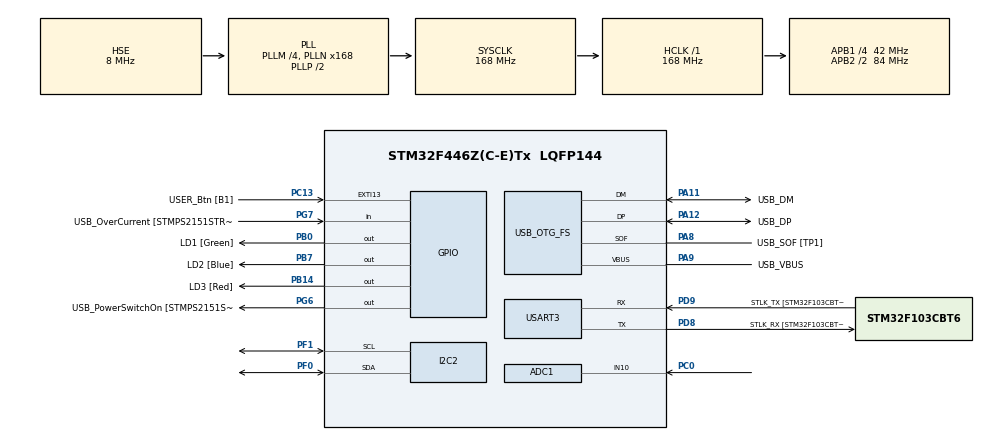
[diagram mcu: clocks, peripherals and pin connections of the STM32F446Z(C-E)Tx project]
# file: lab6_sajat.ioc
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ADC1.Channel-1\#ChannelRegularConversion=ADC_CHANNEL_10
ADC1.NbrOfConversionFlag=1
ADC1.Rank-1\#ChannelRegularConversion=1
ADC1.SamplingTime-1\#ChannelRegularConversion=ADC_SAMPLETIME_3CYCLES
ADC1.master=1
Mcu.Family=STM32F4
Mcu.Name=STM32F446Z(C-E)Tx
Mcu.Package=LQFP144
NVIC.ADC_IRQn=true\:0\:0\:false\:false\:true\:true\:true\:true
NVIC.PriorityGroup=NVIC_PRIORITYGROUP_4
PA10.GPIO_Label=USB_ID
PA10.Signal=USB_OTG_FS_ID
PA11.GPIO_Label=USB_DM
PA11.Mode=Device_Only
PA11.Signal=USB_OTG_FS_DM
PA12.GPIO_Label=USB_DP
PA12.Mode=Device_Only
PA12.Signal=USB_OTG_FS_DP
PA13.GPIO_Label=TMS
PA13.Mode=Serial_Wire
PA13.Signal=SYS_JTMS-SWDIO
PA14.GPIO_Label=TCK
PA14.Mode=Serial_Wire
PA14.Signal=SYS_JTCK-SWCLK
PA8.GPIO_Label=USB_SOF [TP1]
PA8.Mode=Activate_SOF_FS
PA8.Signal=USB_OTG_FS_SOF
PA9.GPIO_Label=USB_VBUS
PA9.Mode=Activate_VBUS
PA9.Signal=USB_OTG_FS_VBUS
PB0.GPIO_Label=LD1 [Green]
PB0.Signal=GPIO_Output
PB14.GPIO_Label=LD3 [Red]
PB14.Signal=GPIO_Output
PB7.GPIO_Label=LD2 [Blue]
PB7.Signal=GPIO_Output
PC0.Signal=ADCx_IN10
PC13.GPIO_Label=USER_Btn [B1]
PC13.Signal=GPXTI13
PC14-OSC32_IN.Mode=LSE-External-Oscillator
PC14-OSC32_IN.Signal=RCC_OSC32_IN
PC15-OSC32_OUT.Mode=LSE-External-Oscillator
PC15-OSC32_OUT.Signal=RCC_OSC32_OUT
PD8.GPIO_Label=STLK_RX [STM32F103CBT6_PA3]
PD8.Mode=Asynchronous
PD8.Signal=USART3_TX
PD9.GPIO_Label=STLK_TX [STM32F103CBT6_PA2]
PD9.Mode=Asynchronous
PD9.Signal=USART3_RX
PF0.Mode=I2C
PF0.Signal=I2C2_SDA
PF1.Mode=I2C
PF1.Signal=I2C2_SCL
PG6.GPIO_Label=USB_PowerSwitchOn [STMPS2151STR_EN]
PG6.Signal=GPIO_Output
PG7.GPIO_Label=USB_OverCurrent [STMPS2151STR_FAULT]
PG7.Signal=GPIO_Input
PH0-OSC_IN.GPIO_Label=MCO [STM32F103CBT6_PA8]
PH0-OSC_IN.Mode=HSE-External-Clock-Source
PH0-OSC_IN.Signal=RCC_OSC_IN
PH1-OSC_OUT.Mode=HSE-External-Clock-Source
PH1-OSC_OUT.Signal=RCC_OSC_OUT
ProjectManager.HeapSize=0x200
ProjectManager.StackSize=0x400
ProjectManager.TargetToolchain=STM32CubeIDE
RCC.48MHZClocksFreq_Value=24000000
RCC.AHBFreq_Value=168000000
RCC.APB1CLKDivider=RCC_HCLK_DIV4
RCC.APB1Freq_Value=42000000
RCC.APB1TimFreq_Value=84000000
RCC.APB2CLKDivider=RCC_HCLK_DIV2
RCC.APB2Freq_Value=84000000
RCC.APB2TimFreq_Value=168000000
RCC.CortexFreq_Value=168000000
RCC.HCLKFreq_Value=168000000
RCC.HSE_VALUE=8000000
RCC.HSI_VALUE=16000000
RCC.PLLM=4
RCC.PLLMUL=RCC_PLL_MUL9
RCC.PLLN=168
RCC.PLLQ=7
RCC.PRESCALERUSB=RCC_USBCLKSOURCE_PLL_DIV1_5
RCC.SYSCLKFreq_VALUE=168000000
RCC.SYSCLKSource=RCC_SYSCLKSOURCE_PLLCLK
RCC.SYSCLKSourceVirtual=RCC_SYSCLKSOURCE_PLLCLK
RCC.USBFreq_Value=48000000
RCC.VCOOutputFreq_Value=336000000
SH.ADCx_IN10.0=ADC1_IN10,IN10
USART3.VirtualMode=VM_ASYNC
USB_OTG_FS.VirtualMode=Device_Only
board=NUCLEO-F446ZE

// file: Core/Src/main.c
/* USER CODE BEGIN Header */

/**

  ******************************************************************************

  * @file           : main.c

  * @brief          : Main program body

  ******************************************************************************

  * @attention

  *

  * Copyright (c) 2026 STMicroelectronics.

  * All rights reserved.

  *

  * This software is licensed under terms that can be found in the LICENSE file

  * in the root directory of this software component.

  * If no LICENSE file comes with this software, it is provided AS-IS.

  *

  ******************************************************************************

  */

/* USER CODE END Header */

#include "main.h"

/* USER CODE BEGIN Includes */
#include "OLED.h"
#include <stdio.h>

/* USER CODE END Includes */

ADC_HandleTypeDef hadc1;

I2C_HandleTypeDef hi2c2;

UART_HandleTypeDef huart3;

PCD_HandleTypeDef hpcd_USB_OTG_FS;

/* USER CODE BEGIN PV */
uint32_t adc = 0;
uint32_t adc_avg[25] = {0};
uint8_t p_avg_cnt = 0;
uint32_t avg = 0;
char adc_char[20];

/* USER CODE END PV */

void SystemClock_Config(void);

static void MX_GPIO_Init(void);

static void MX_ADC1_Init(void);

static void MX_I2C2_Init(void);

static void MX_USART3_UART_Init(void);

static void MX_USB_OTG_FS_PCD_Init(void);

int main(void)

{

  /* MCU Configuration--------------------------------------------------------*/

  /* Reset of all peripherals, Initializes the Flash interface and the Systick. */

  HAL_Init();

  /* Configure the system clock */

  SystemClock_Config();

  /* Initialize all configured peripherals */

  MX_GPIO_Init();

  MX_ADC1_Init();

  MX_I2C2_Init();

  MX_USART3_UART_Init();

  MX_USB_OTG_FS_PCD_Init();

  /* USER CODE BEGIN 2 */
  OLED_Init();

  /* USER CODE END 2 */

  /* Infinite loop */

  while (1)
  {

    /* USER CODE BEGIN 3 */
    /* ADC meres inditasa */
    if (HAL_ADC_Start(&hadc1) == HAL_OK)
    {
      if (HAL_ADC_PollForConversion(&hadc1, 10) == HAL_OK)
      {
        adc = HAL_ADC_GetValue(&hadc1);
        adc_avg[p_avg_cnt] = adc;
        p_avg_cnt++;
        if (p_avg_cnt >= 25)
        {
          p_avg_cnt = 0;
        }

        uint32_t sum = 0;
        for (uint8_t i = 0; i < 25; i++)
        {
          sum += adc_avg[i];
        }
        avg = sum / 25;
      }
      HAL_ADC_Stop(&hadc1);
    }

    OLED_Fill(0);
    OLED_SetCursor(2, 0);
    OLED_WriteString("ADC value", Font_11x18, 1);

    snprintf(adc_char, sizeof(adc_char), "%lu", (unsigned long)avg);
    OLED_SetCursor(2, 18);
    OLED_WriteString(adc_char, Font_11x18, 1);

    /* 12 bit, feltetelezett 3300 mV ADC referencia */
    uint32_t voltage = (avg * 3300UL) / 4095UL;
    snprintf(adc_char, sizeof(adc_char), "%lumV", (unsigned long)voltage);
    OLED_SetCursor(2, 36);
    OLED_WriteString(adc_char, Font_11x18, 1);

    OLED_UpdateScreen();
    HAL_Delay(25);

  }

  /* USER CODE END 3 */

}

void SystemClock_Config(void)

{

  RCC_OscInitTypeDef RCC_OscInitStruct = {0};

  RCC_ClkInitTypeDef RCC_ClkInitStruct = {0};

  /** Configure the main internal regulator output voltage

  */

  __HAL_RCC_PWR_CLK_ENABLE();

  __HAL_PWR_VOLTAGESCALING_CONFIG(PWR_REGULATOR_VOLTAGE_SCALE1);

  /** Initializes the RCC Oscillators according to the specified parameters

  * in the RCC_OscInitTypeDef structure.

  */

  RCC_OscInitStruct.OscillatorType = RCC_OSCILLATORTYPE_HSE;

  RCC_OscInitStruct.HSEState = RCC_HSE_BYPASS;

  RCC_OscInitStruct.PLL.PLLState = RCC_PLL_ON;

  RCC_OscInitStruct.PLL.PLLSource = RCC_PLLSOURCE_HSE;

  RCC_OscInitStruct.PLL.PLLM = 4;

  RCC_OscInitStruct.PLL.PLLN = 168;

  RCC_OscInitStruct.PLL.PLLP = RCC_PLLP_DIV2;

  RCC_OscInitStruct.PLL.PLLQ = 7;

  RCC_OscInitStruct.PLL.PLLR = 2;

  if (HAL_RCC_OscConfig(&RCC_OscInitStruct) != HAL_OK)

  {

    Error_Handler();

  }

  /** Initializes the CPU, AHB and APB buses clocks

  */

  RCC_ClkInitStruct.ClockType = RCC_CLOCKTYPE_HCLK|RCC_CLOCKTYPE_SYSCLK

                              |RCC_CLOCKTYPE_PCLK1|RCC_CLOCKTYPE_PCLK2;

  RCC_ClkInitStruct.SYSCLKSource = RCC_SYSCLKSOURCE_PLLCLK;

  RCC_ClkInitStruct.AHBCLKDivider = RCC_SYSCLK_DIV1;

  RCC_ClkInitStruct.APB1CLKDivider = RCC_HCLK_DIV4;

  RCC_ClkInitStruct.APB2CLKDivider = RCC_HCLK_DIV2;

  if (HAL_RCC_ClockConfig(&RCC_ClkInitStruct, FLASH_LATENCY_5) != HAL_OK)

  {

    Error_Handler();

  }

}

static void MX_ADC1_Init(void)

{

  ADC_ChannelConfTypeDef sConfig = {0};

  /** Configure the global features of the ADC (Clock, Resolution, Data Alignment and number of conversion)

  */

  hadc1.Instance = ADC1;

  hadc1.Init.ClockPrescaler = ADC_CLOCK_SYNC_PCLK_DIV4;

  hadc1.Init.Resolution = ADC_RESOLUTION_12B;

  hadc1.Init.ScanConvMode = DISABLE;

  hadc1.Init.ContinuousConvMode = DISABLE;

  hadc1.Init.DiscontinuousConvMode = DISABLE;

  hadc1.Init.ExternalTrigConvEdge = ADC_EXTERNALTRIGCONVEDGE_NONE;

  hadc1.Init.ExternalTrigConv = ADC_SOFTWARE_START;

  hadc1.Init.DataAlign = ADC_DATAALIGN_RIGHT;

  hadc1.Init.NbrOfConversion = 1;

  hadc1.Init.DMAContinuousRequests = DISABLE;

  hadc1.Init.EOCSelection = ADC_EOC_SINGLE_CONV;

  if (HAL_ADC_Init(&hadc1) != HAL_OK)

  {

    Error_Handler();

  }

  /** Configure for the selected ADC regular channel its corresponding rank in the sequencer and its sample time.

  */

  sConfig.Channel = ADC_CHANNEL_10;

  sConfig.Rank = 1;

  sConfig.SamplingTime = ADC_SAMPLETIME_3CYCLES;

  if (HAL_ADC_ConfigChannel(&hadc1, &sConfig) != HAL_OK)

  {

    Error_Handler();

  }

}

static void MX_I2C2_Init(void)

{

  hi2c2.Instance = I2C2;

  hi2c2.Init.ClockSpeed = 100000;

  hi2c2.Init.DutyCycle = I2C_DUTYCYCLE_2;

  hi2c2.Init.OwnAddress1 = 0;

  hi2c2.Init.AddressingMode = I2C_ADDRESSINGMODE_7BIT;

  hi2c2.Init.DualAddressMode = I2C_DUALADDRESS_DISABLE;

  hi2c2.Init.OwnAddress2 = 0;

  hi2c2.Init.GeneralCallMode = I2C_GENERALCALL_DISABLE;

  hi2c2.Init.NoStretchMode = I2C_NOSTRETCH_DISABLE;

  if (HAL_I2C_Init(&hi2c2) != HAL_OK)

  {

    Error_Handler();

  }

}

static void MX_USART3_UART_Init(void)

{

  huart3.Instance = USART3;

  huart3.Init.BaudRate = 115200;

  huart3.Init.WordLength = UART_WORDLENGTH_8B;

  huart3.Init.StopBits = UART_STOPBITS_1;

  huart3.Init.Parity = UART_PARITY_NONE;

  huart3.Init.Mode = UART_MODE_TX_RX;

  huart3.Init.HwFlowCtl = UART_HWCONTROL_NONE;

  huart3.Init.OverSampling = UART_OVERSAMPLING_16;

  if (HAL_UART_Init(&huart3) != HAL_OK)

  {

    Error_Handler();

  }

}

static void MX_USB_OTG_FS_PCD_Init(void)

{

  hpcd_USB_OTG_FS.Instance = USB_OTG_FS;

  hpcd_USB_OTG_FS.Init.dev_endpoints = 6;

  hpcd_USB_OTG_FS.Init.speed = PCD_SPEED_FULL;

  hpcd_USB_OTG_FS.Init.dma_enable = DISABLE;

  hpcd_USB_OTG_FS.Init.phy_itface = PCD_PHY_EMBEDDED;

  hpcd_USB_OTG_FS.Init.Sof_enable = ENABLE;

  hpcd_USB_OTG_FS.Init.low_power_enable = DISABLE;

  hpcd_USB_OTG_FS.Init.lpm_enable = DISABLE;

  hpcd_USB_OTG_FS.Init.vbus_sensing_enable = ENABLE;

  hpcd_USB_OTG_FS.Init.use_dedicated_ep1 = DISABLE;

  if (HAL_PCD_Init(&hpcd_USB_OTG_FS) != HAL_OK)

  {

    Error_Handler();

  }

}

static void MX_GPIO_Init(void)

{

  GPIO_InitTypeDef GPIO_InitStruct = {0};

  /* GPIO Ports Clock Enable */

  __HAL_RCC_GPIOC_CLK_ENABLE();

  __HAL_RCC_GPIOF_CLK_ENABLE();

  __HAL_RCC_GPIOH_CLK_ENABLE();

  __HAL_RCC_GPIOB_CLK_ENABLE();

  __HAL_RCC_GPIOD_CLK_ENABLE();

  __HAL_RCC_GPIOG_CLK_ENABLE();

  __HAL_RCC_GPIOA_CLK_ENABLE();

  /*Configure GPIO pin Output Level */

  HAL_GPIO_WritePin(GPIOB, LD1_Pin|LD3_Pin|LD2_Pin, GPIO_PIN_RESET);

  /*Configure GPIO pin Output Level */

  HAL_GPIO_WritePin(USB_PowerSwitchOn_GPIO_Port, USB_PowerSwitchOn_Pin, GPIO_PIN_RESET);

  /*Configure GPIO pin : USER_Btn_Pin */

  GPIO_InitStruct.Pin = USER_Btn_Pin;

  GPIO_InitStruct.Mode = GPIO_MODE_IT_RISING;

  GPIO_InitStruct.Pull = GPIO_NOPULL;

  HAL_GPIO_Init(USER_Btn_GPIO_Port, &GPIO_InitStruct);

  /*Configure GPIO pins : LD1_Pin LD3_Pin LD2_Pin */

  GPIO_InitStruct.Pin = LD1_Pin|LD3_Pin|LD2_Pin;

  GPIO_InitStruct.Mode = GPIO_MODE_OUTPUT_PP;

  GPIO_InitStruct.Pull = GPIO_NOPULL;

  GPIO_InitStruct.Speed = GPIO_SPEED_FREQ_LOW;

  HAL_GPIO_Init(GPIOB, &GPIO_InitStruct);

  /*Configure GPIO pin : USB_PowerSwitchOn_Pin */

  GPIO_InitStruct.Pin = USB_PowerSwitchOn_Pin;

  GPIO_InitStruct.Mode = GPIO_MODE_OUTPUT_PP;

  GPIO_InitStruct.Pull = GPIO_NOPULL;

  GPIO_InitStruct.Speed = GPIO_SPEED_FREQ_LOW;

  HAL_GPIO_Init(USB_PowerSwitchOn_GPIO_Port, &GPIO_InitStruct);

  /*Configure GPIO pin : USB_OverCurrent_Pin */

  GPIO_InitStruct.Pin = USB_OverCurrent_Pin;

  GPIO_InitStruct.Mode = GPIO_MODE_INPUT;

  GPIO_InitStruct.Pull = GPIO_NOPULL;

  HAL_GPIO_Init(USB_OverCurrent_GPIO_Port, &GPIO_InitStruct);

}

void Error_Handler(void)

{

  __disable_irq();
  while (1)
  {
  }

}
